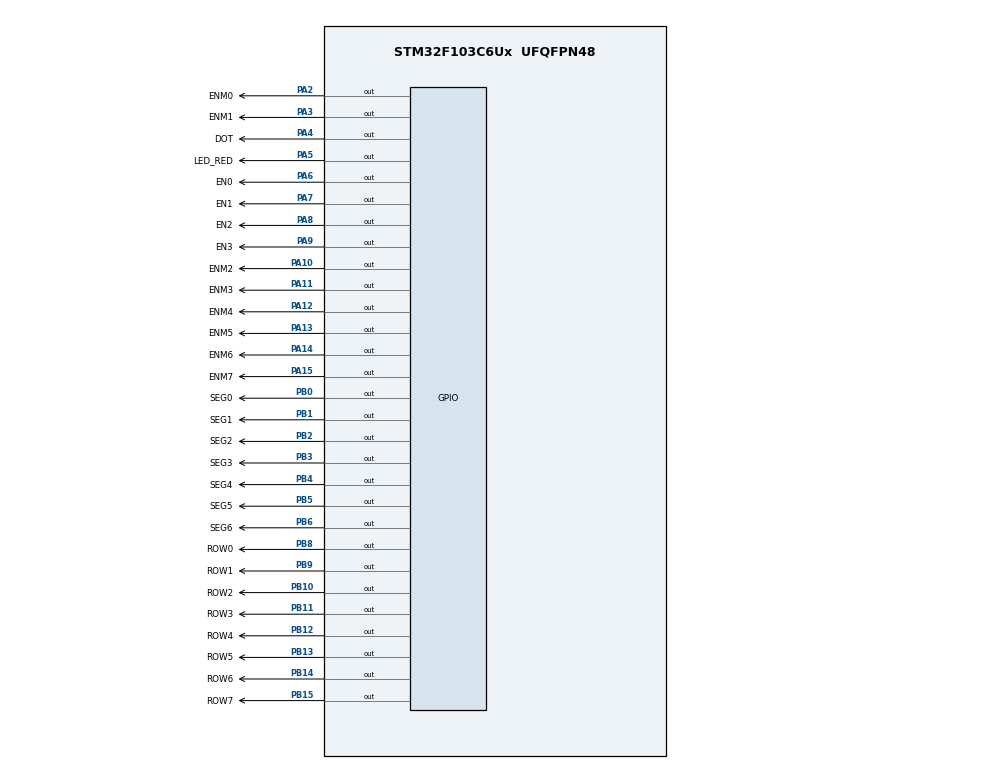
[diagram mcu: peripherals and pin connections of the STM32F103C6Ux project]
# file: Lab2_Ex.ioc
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Mcu.Family=STM32F1
Mcu.Name=STM32F103C6Ux
Mcu.Package=UFQFPN48
NVIC.PriorityGroup=NVIC_PRIORITYGROUP_4
NVIC.TIM2_IRQn=true\:0\:0\:false\:false\:true\:true\:true
PA10.GPIO_Label=ENM2
PA10.Signal=GPIO_Output
PA11.GPIO_Label=ENM3
PA11.Signal=GPIO_Output
PA12.GPIO_Label=ENM4
PA12.Signal=GPIO_Output
PA13.GPIO_Label=ENM5
PA13.Signal=GPIO_Output
PA14.GPIO_Label=ENM6
PA14.Signal=GPIO_Output
PA15.GPIO_Label=ENM7
PA15.Signal=GPIO_Output
PA2.GPIO_Label=ENM0
PA2.Signal=GPIO_Output
PA3.GPIO_Label=ENM1
PA3.Signal=GPIO_Output
PA4.GPIO_Label=DOT
PA4.Signal=GPIO_Output
PA5.GPIO_Label=LED_RED
PA5.Signal=GPIO_Output
PA6.GPIO_Label=EN0
PA6.Signal=GPIO_Output
PA7.GPIO_Label=EN1
PA7.Signal=GPIO_Output
PA8.GPIO_Label=EN2
PA8.Signal=GPIO_Output
PA9.GPIO_Label=EN3
PA9.Signal=GPIO_Output
PB0.GPIO_Label=SEG0
PB0.Signal=GPIO_Output
PB1.GPIO_Label=SEG1
PB1.Signal=GPIO_Output
PB10.GPIO_Label=ROW2
PB10.Signal=GPIO_Output
PB11.GPIO_Label=ROW3
PB11.Signal=GPIO_Output
PB12.GPIO_Label=ROW4
PB12.Signal=GPIO_Output
PB13.GPIO_Label=ROW5
PB13.Signal=GPIO_Output
PB14.GPIO_Label=ROW6
PB14.Signal=GPIO_Output
PB15.GPIO_Label=ROW7
PB15.Signal=GPIO_Output
PB2.GPIO_Label=SEG2
PB2.Signal=GPIO_Output
PB3.GPIO_Label=SEG3
PB3.Signal=GPIO_Output
PB4.GPIO_Label=SEG4
PB4.Signal=GPIO_Output
PB5.GPIO_Label=SEG5
PB5.Signal=GPIO_Output
PB6.GPIO_Label=SEG6
PB6.Signal=GPIO_Output
PB8.GPIO_Label=ROW0
PB8.Signal=GPIO_Output
PB9.GPIO_Label=ROW1
PB9.Signal=GPIO_Output
ProjectManager.HeapSize=0x200
ProjectManager.StackSize=0x400
ProjectManager.TargetToolchain=STM32CubeIDE
RCC.APB1Freq_Value=8000000
RCC.APB2Freq_Value=8000000
TIM2.Period=9
TIM2.Prescaler=7999
VP_SYS_VS_ND.Mode=No_Debug
VP_TIM2_VS_ClockSourceINT.Mode=Internal
board=custom

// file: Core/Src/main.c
/* USER CODE BEGIN Header */
/**
  ******************************************************************************
  * @file           : main.c
  * @brief          : Main program body
  ******************************************************************************
  * @attention
  *
  * <h2><center>&copy; Copyright (c) 2023 STMicroelectronics.
  * All rights reserved.</center></h2>
  *
  * This software component is licensed by ST under BSD 3-Clause license,
  * the "License"; You may not use this file except in compliance with the
  * License. You may obtain a copy of the License at:
  *                        opensource.org/licenses/BSD-3-Clause
  *
  ******************************************************************************
  */
/* USER CODE END Header */
#include "main.h"

/* USER CODE BEGIN Includes */
#include "software_timer.h"
/* USER CODE END Includes */

TIM_HandleTypeDef htim2;

void SystemClock_Config(void);
static void MX_GPIO_Init(void);
static void MX_TIM2_Init(void);

/* USER CODE BEGIN 0 */
int timer0_counter = 0;
int timer0_flag = 0;
int TIME_CYCLE = 10;
void setTimer0(int duration)
{
	timer0_counter = duration / TIME_CYCLE;
	timer0_flag = 0;
}
void timer_run()
{
	if (timer0_counter > 0)
	{
		timer0_counter--;
		if (timer0_counter <= 0)
		{
			timer0_flag = 1;
		}
	}
}
/* USER CODE END 0 */

int main(void)
{

  /* MCU Configuration--------------------------------------------------------*/

  /* Reset of all peripherals, Initializes the Flash interface and the Systick. */
  HAL_Init();

  /* Configure the system clock */
  SystemClock_Config();

  /* Initialize all configured peripherals */
  MX_GPIO_Init();
  MX_TIM2_Init();
  /* USER CODE BEGIN 2 */
  HAL_TIM_Base_Start_IT(&htim2);

  HAL_GPIO_WritePin(SEG0_GPIO_Port, SEG0_Pin, SET);
  HAL_GPIO_WritePin(SEG1_GPIO_Port, SEG1_Pin, SET);
  HAL_GPIO_WritePin(SEG2_GPIO_Port, SEG2_Pin, SET);
  HAL_GPIO_WritePin(SEG3_GPIO_Port, SEG3_Pin, SET);
  HAL_GPIO_WritePin(SEG4_GPIO_Port, SEG4_Pin, SET);
  HAL_GPIO_WritePin(SEG5_GPIO_Port, SEG5_Pin, SET);
  HAL_GPIO_WritePin(SEG6_GPIO_Port, SEG6_Pin, SET);

  void display7SEG(int num)
  {
	  switch (num)
	  {
	  case 0:
		  HAL_GPIO_WritePin(SEG0_GPIO_Port, SEG0_Pin, RESET);
		  HAL_GPIO_WritePin(SEG1_GPIO_Port, SEG1_Pin, RESET);
		  HAL_GPIO_WritePin(SEG2_GPIO_Port, SEG2_Pin, RESET);
		  HAL_GPIO_WritePin(SEG3_GPIO_Port, SEG3_Pin, RESET);
		  HAL_GPIO_WritePin(SEG4_GPIO_Port, SEG4_Pin, RESET);
		  HAL_GPIO_WritePin(SEG5_GPIO_Port, SEG5_Pin, RESET);
		  HAL_GPIO_WritePin(SEG6_GPIO_Port, SEG6_Pin, SET);
		  break;
	  case 1:
		  HAL_GPIO_WritePin(SEG0_GPIO_Port, SEG0_Pin, SET);
		  HAL_GPIO_WritePin(SEG1_GPIO_Port, SEG1_Pin, RESET);
		  HAL_GPIO_WritePin(SEG2_GPIO_Port, SEG2_Pin, RESET);
		  HAL_GPIO_WritePin(SEG3_GPIO_Port, SEG3_Pin, SET);
		  HAL_GPIO_WritePin(SEG4_GPIO_Port, SEG4_Pin, SET);
		  HAL_GPIO_WritePin(SEG5_GPIO_Port, SEG5_Pin, SET);
		  HAL_GPIO_WritePin(SEG6_GPIO_Port, SEG6_Pin, SET);
		  break;
	  case 2:
		  HAL_GPIO_WritePin(SEG0_GPIO_Port, SEG0_Pin, RESET);
		  HAL_GPIO_WritePin(SEG1_GPIO_Port, SEG1_Pin, RESET);
		  HAL_GPIO_WritePin(SEG2_GPIO_Port, SEG2_Pin, SET);
		  HAL_GPIO_WritePin(SEG3_GPIO_Port, SEG3_Pin, RESET);
		  HAL_GPIO_WritePin(SEG4_GPIO_Port, SEG4_Pin, RESET);
		  HAL_GPIO_WritePin(SEG5_GPIO_Port, SEG5_Pin, SET);
		  HAL_GPIO_WritePin(SEG6_GPIO_Port, SEG6_Pin, RESET);
		  break;
	  case 3:
		  HAL_GPIO_WritePin(SEG0_GPIO_Port, SEG0_Pin, RESET);
		  HAL_GPIO_WritePin(SEG1_GPIO_Port, SEG1_Pin, RESET);
		  HAL_GPIO_WritePin(SEG2_GPIO_Port, SEG2_Pin, RESET);
		  HAL_GPIO_WritePin(SEG3_GPIO_Port, SEG3_Pin, RESET);
		  HAL_GPIO_WritePin(SEG4_GPIO_Port, SEG4_Pin, SET);
		  HAL_GPIO_WritePin(SEG5_GPIO_Port, SEG5_Pin, SET);
		  HAL_GPIO_WritePin(SEG6_GPIO_Port, SEG6_Pin, RESET);
		  break;
	  case 4:
		  HAL_GPIO_WritePin(SEG0_GPIO_Port, SEG0_Pin, SET);
		  HAL_GPIO_WritePin(SEG1_GPIO_Port, SEG1_Pin, RESET);
		  HAL_GPIO_WritePin(SEG2_GPIO_Port, SEG2_Pin, RESET);
		  HAL_GPIO_WritePin(SEG3_GPIO_Port, SEG3_Pin, SET);
		  HAL_GPIO_WritePin(SEG4_GPIO_Port, SEG4_Pin, SET);
		  HAL_GPIO_WritePin(SEG5_GPIO_Port, SEG5_Pin, RESET);
		  HAL_GPIO_WritePin(SEG6_GPIO_Port, SEG6_Pin, RESET);
		  break;
	  case 5:
		  HAL_GPIO_WritePin(SEG0_GPIO_Port, SEG0_Pin, RESET);
		  HAL_GPIO_WritePin(SEG1_GPIO_Port, SEG1_Pin, SET);
		  HAL_GPIO_WritePin(SEG2_GPIO_Port, SEG2_Pin, RESET);
		  HAL_GPIO_WritePin(SEG3_GPIO_Port, SEG3_Pin, RESET);
		  HAL_GPIO_WritePin(SEG4_GPIO_Port, SEG4_Pin, SET);
		  HAL_GPIO_WritePin(SEG5_GPIO_Port, SEG5_Pin, RESET);
		  HAL_GPIO_WritePin(SEG6_GPIO_Port, SEG6_Pin, RESET);
		  break;
	  case 6:
		  HAL_GPIO_WritePin(SEG0_GPIO_Port, SEG0_Pin, RESET);
		  HAL_GPIO_WritePin(SEG1_GPIO_Port, SEG1_Pin, SET);
		  HAL_GPIO_WritePin(SEG2_GPIO_Port, SEG2_Pin, RESET);
		  HAL_GPIO_WritePin(SEG3_GPIO_Port, SEG3_Pin, RESET);
		  HAL_GPIO_WritePin(SEG4_GPIO_Port, SEG4_Pin, RESET);
		  HAL_GPIO_WritePin(SEG5_GPIO_Port, SEG5_Pin, RESET);
		  HAL_GPIO_WritePin(SEG6_GPIO_Port, SEG6_Pin, RESET);
		  break;
	  case 7:
		  HAL_GPIO_WritePin(SEG0_GPIO_Port, SEG0_Pin, RESET);
		  HAL_GPIO_WritePin(SEG1_GPIO_Port, SEG1_Pin, RESET);
		  HAL_GPIO_WritePin(SEG2_GPIO_Port, SEG2_Pin, RESET);
		  HAL_GPIO_WritePin(SEG3_GPIO_Port, SEG3_Pin, SET);
		  HAL_GPIO_WritePin(SEG4_GPIO_Port, SEG4_Pin, SET);
		  HAL_GPIO_WritePin(SEG5_GPIO_Port, SEG5_Pin, SET);
		  HAL_GPIO_WritePin(SEG6_GPIO_Port, SEG6_Pin, SET);
		  break;
	  case 8:
		  HAL_GPIO_WritePin(SEG0_GPIO_Port, SEG0_Pin, RESET);
		  HAL_GPIO_WritePin(SEG1_GPIO_Port, SEG1_Pin, RESET);
		  HAL_GPIO_WritePin(SEG2_GPIO_Port, SEG2_Pin, RESET);
		  HAL_GPIO_WritePin(SEG3_GPIO_Port, SEG3_Pin, RESET);
		  HAL_GPIO_WritePin(SEG4_GPIO_Port, SEG4_Pin, RESET);
		  HAL_GPIO_WritePin(SEG5_GPIO_Port, SEG5_Pin, RESET);
		  HAL_GPIO_WritePin(SEG6_GPIO_Port, SEG6_Pin, RESET);
		  break;
	  case 9:
		  HAL_GPIO_WritePin(SEG0_GPIO_Port, SEG0_Pin, RESET);
		  HAL_GPIO_WritePin(SEG1_GPIO_Port, SEG1_Pin, RESET);
		  HAL_GPIO_WritePin(SEG2_GPIO_Port, SEG2_Pin, RESET);
		  HAL_GPIO_WritePin(SEG3_GPIO_Port, SEG3_Pin, RESET);
		  HAL_GPIO_WritePin(SEG4_GPIO_Port, SEG4_Pin, SET);
		  HAL_GPIO_WritePin(SEG5_GPIO_Port, SEG5_Pin, RESET);
		  HAL_GPIO_WritePin(SEG6_GPIO_Port, SEG6_Pin, RESET);
		  break;
	  default:
		  HAL_GPIO_WritePin(SEG0_GPIO_Port, SEG0_Pin, RESET);
		  HAL_GPIO_WritePin(SEG1_GPIO_Port, SEG1_Pin, RESET);
		  HAL_GPIO_WritePin(SEG2_GPIO_Port, SEG2_Pin, RESET);
		  HAL_GPIO_WritePin(SEG3_GPIO_Port, SEG3_Pin, RESET);
		  HAL_GPIO_WritePin(SEG4_GPIO_Port, SEG4_Pin, RESET);
		  HAL_GPIO_WritePin(SEG5_GPIO_Port, SEG5_Pin, RESET);
		  HAL_GPIO_WritePin(SEG6_GPIO_Port, SEG6_Pin, SET);
		  break;
	  }
  }
  void state(int num)
  {
	  switch (num)
	  {
	  case 0:
		  HAL_GPIO_WritePin(EN0_GPIO_Port, EN0_Pin, RESET);
		  HAL_GPIO_WritePin(EN1_GPIO_Port, EN1_Pin, SET);
		  HAL_GPIO_WritePin(EN2_GPIO_Port, EN2_Pin, SET);
		  HAL_GPIO_WritePin(EN3_GPIO_Port, EN3_Pin, SET);
		  break;
	  case 1:
		  HAL_GPIO_WritePin(EN0_GPIO_Port, EN0_Pin, SET);
		  HAL_GPIO_WritePin(EN1_GPIO_Port, EN1_Pin, RESET);
		  HAL_GPIO_WritePin(EN2_GPIO_Port, EN2_Pin, SET);
		  HAL_GPIO_WritePin(EN3_GPIO_Port, EN3_Pin, SET);
		  break;
	  case 2:
		  HAL_GPIO_WritePin(EN0_GPIO_Port, EN0_Pin, SET);
		  HAL_GPIO_WritePin(EN1_GPIO_Port, EN1_Pin, SET);
		  HAL_GPIO_WritePin(EN2_GPIO_Port, EN2_Pin, RESET);
		  HAL_GPIO_WritePin(EN3_GPIO_Port, EN3_Pin, SET);
		  break;
	  case 3:
		  HAL_GPIO_WritePin(EN0_GPIO_Port, EN0_Pin, SET);
		  HAL_GPIO_WritePin(EN1_GPIO_Port, EN1_Pin, SET);
		  HAL_GPIO_WritePin(EN2_GPIO_Port, EN2_Pin, SET);
		  HAL_GPIO_WritePin(EN3_GPIO_Port, EN3_Pin, RESET);
		  break;
	  default:
		  HAL_GPIO_WritePin(EN0_GPIO_Port, EN0_Pin, RESET);
		  HAL_GPIO_WritePin(EN1_GPIO_Port, EN1_Pin, SET);
		  HAL_GPIO_WritePin(EN2_GPIO_Port, EN2_Pin, SET);
		  HAL_GPIO_WritePin(EN3_GPIO_Port, EN3_Pin, SET);
		  break;
	  }
  }
  const int MAX_LED = 4;
  int index_led = 0;
  int led_buffer[4] = {6, 7, 8, 9};
  void update7SEG(int index)
  {
	  state(index);
	  display7SEG(led_buffer[index]);
  }
  /* USER CODE END 2 */

  /* Infinite loop */
  /* USER CODE BEGIN WHILE */
  const int MAX_LED_MATRIX = 8;
  int index_led_matrix = 0;
  uint16_t COL [8] = {ENM0_Pin, ENM1_Pin, ENM2_Pin, ENM3_Pin, ENM4_Pin, ENM5_Pin, ENM6_Pin, ENM7_Pin};
  uint16_t ROW [8] = {ROW0_Pin, ROW1_Pin, ROW2_Pin, ROW3_Pin, ROW4_Pin, ROW5_Pin, ROW6_Pin, ROW7_Pin};
  uint8_t matrix_buffer[8] = {0x00,0xFC,0x12,0x11,0x11,0x12,0xFC,0x00};

  void displayLEDMatrix (uint8_t index)
  {
	  for (int i = 0; i < MAX_LED_MATRIX; i++)
	  {
		  uint8_t bit = index >> i;
		  if (bit & 1) HAL_GPIO_WritePin(GPIOB, ROW[i], RESET);
  	  }
   }

  void shift (int mode)
  {
	uint8_t firstBit = matrix_buffer[0];
	uint8_t lastBit = matrix_buffer[MAX_LED_MATRIX];
	if (mode == 0)
	{
		for (int i = 0; i < MAX_LED_MATRIX; i++)
		{
			matrix_buffer[i] = matrix_buffer[i + 1];
		}
		matrix_buffer[MAX_LED_MATRIX - 1] = firstBit;
	}
  }

  void clearLEDMatrix()
  {
	for (int i = 0; i < MAX_LED_MATRIX; i++)
	{
	  HAL_GPIO_WritePin(GPIOA, COL[i], SET);
	  HAL_GPIO_WritePin(GPIOB, ROW[i], SET);
	}
  }

  void updateLEDMatrix (int index)
  {
	clearLEDMatrix();
	index %= MAX_LED_MATRIX;
	HAL_GPIO_WritePin(GPIOA, COL[index], RESET);
	displayLEDMatrix(matrix_buffer[index]);
  }

  int hour = 15, minute = 8, second = 50;
  void updateClockBuffer()
  {
	  led_buffer[0] = hour / 10;
	  led_buffer[1] = hour % 10;
	  led_buffer[2] = minute / 10;
	  led_buffer[3] = minute % 10;
  }

  uint8_t SLeft(uint8_t a)
  {
	  return ((a >> 1) | (a & 1) << 7);
  }
  void SLeftBuffer()
  {
	for (int i = 0; i < 8; i++)
	{
	  matrix_buffer[i] = SLeft(matrix_buffer[i]);
	}
  }

  setTimer1(100); // LED_RED and DOT
  setTimer2(25); // 7 Segment LEDs
  setTimer3(100); // 1s = 1000ms
  setTimer4(10);
  updateClockBuffer();
  update7SEG(0);

  int i = 0;
  updateLEDMatrix(i);
  while (1)
  {
	  if (timer1_flag == 1)
	  {
		  setTimer1(100);
		  HAL_GPIO_TogglePin(LED_RED_GPIO_Port, LED_RED_Pin);
		  HAL_GPIO_TogglePin(DOT_GPIO_Port, DOT_Pin);
	  }
	  if (timer2_flag == 1)
	  {
		  setTimer2(25);
		  if (index_led > 3)
		  {
			  index_led = 0;
		  }
		  update7SEG(index_led++);
	  }
	  if (timer3_flag == 1)
	  {
		  setTimer3(100);
		  second++;
		  if (second >= 60)
		  {
			  second = 0;
			  minute++;
		  }
		  if (minute >= 60)
		  {
			  minute = 0;
			  hour++;
		  }
		  if (hour >= 24)
		  {
			  hour = 0;
		  }
		  updateClockBuffer();
	  }
	  if (timer4_flag == 1)
	  {
		  setTimer4(10);
		  updateLEDMatrix(i++);
		  if (i > 7) i = 0;
	  }
    /* USER CODE END WHILE */

  }
}

void SystemClock_Config(void)
{
  RCC_OscInitTypeDef RCC_OscInitStruct = {0};
  RCC_ClkInitTypeDef RCC_ClkInitStruct = {0};

  /** Initializes the RCC Oscillators according to the specified parameters
  * in the RCC_OscInitTypeDef structure.
  */
  RCC_OscInitStruct.OscillatorType = RCC_OSCILLATORTYPE_HSI;
  RCC_OscInitStruct.HSIState = RCC_HSI_ON;
  RCC_OscInitStruct.HSICalibrationValue = RCC_HSICALIBRATION_DEFAULT;
  RCC_OscInitStruct.PLL.PLLState = RCC_PLL_NONE;
  if (HAL_RCC_OscConfig(&RCC_OscInitStruct) != HAL_OK)
  {
    Error_Handler();
  }
  /** Initializes the CPU, AHB and APB buses clocks
  */
  RCC_ClkInitStruct.ClockType = RCC_CLOCKTYPE_HCLK|RCC_CLOCKTYPE_SYSCLK
                              |RCC_CLOCKTYPE_PCLK1|RCC_CLOCKTYPE_PCLK2;
  RCC_ClkInitStruct.SYSCLKSource = RCC_SYSCLKSOURCE_HSI;
  RCC_ClkInitStruct.AHBCLKDivider = RCC_SYSCLK_DIV1;
  RCC_ClkInitStruct.APB1CLKDivider = RCC_HCLK_DIV1;
  RCC_ClkInitStruct.APB2CLKDivider = RCC_HCLK_DIV1;

  if (HAL_RCC_ClockConfig(&RCC_ClkInitStruct, FLASH_LATENCY_0) != HAL_OK)
  {
    Error_Handler();
  }
}

static void MX_TIM2_Init(void)
{

  TIM_ClockConfigTypeDef sClockSourceConfig = {0};
  TIM_MasterConfigTypeDef sMasterConfig = {0};

  htim2.Instance = TIM2;
  htim2.Init.Prescaler = 7999;
  htim2.Init.CounterMode = TIM_COUNTERMODE_UP;
  htim2.Init.Period = 9;
  htim2.Init.ClockDivision = TIM_CLOCKDIVISION_DIV1;
  htim2.Init.AutoReloadPreload = TIM_AUTORELOAD_PRELOAD_DISABLE;
  if (HAL_TIM_Base_Init(&htim2) != HAL_OK)
  {
    Error_Handler();
  }
  sClockSourceConfig.ClockSource = TIM_CLOCKSOURCE_INTERNAL;
  if (HAL_TIM_ConfigClockSource(&htim2, &sClockSourceConfig) != HAL_OK)
  {
    Error_Handler();
  }
  sMasterConfig.MasterOutputTrigger = TIM_TRGO_RESET;
  sMasterConfig.MasterSlaveMode = TIM_MASTERSLAVEMODE_DISABLE;
  if (HAL_TIMEx_MasterConfigSynchronization(&htim2, &sMasterConfig) != HAL_OK)
  {
    Error_Handler();
  }

}

static void MX_GPIO_Init(void)
{
  GPIO_InitTypeDef GPIO_InitStruct = {0};

  /* GPIO Ports Clock Enable */
  __HAL_RCC_GPIOA_CLK_ENABLE();
  __HAL_RCC_GPIOB_CLK_ENABLE();

  /*Configure GPIO pin Output Level */
  HAL_GPIO_WritePin(GPIOA, ENM0_Pin|ENM1_Pin|DOT_Pin|LED_RED_Pin
                          |EN0_Pin|EN1_Pin|EN2_Pin|EN3_Pin
                          |ENM2_Pin|ENM3_Pin|ENM4_Pin|ENM5_Pin
                          |ENM6_Pin|ENM7_Pin, GPIO_PIN_RESET);

  /*Configure GPIO pin Output Level */
  HAL_GPIO_WritePin(GPIOB, SEG0_Pin|SEG1_Pin|SEG2_Pin|ROW2_Pin
                          |ROW3_Pin|ROW4_Pin|ROW5_Pin|ROW6_Pin
                          |ROW7_Pin|SEG3_Pin|SEG4_Pin|SEG5_Pin
                          |SEG6_Pin|ROW0_Pin|ROW1_Pin, GPIO_PIN_RESET);

  /*Configure GPIO pins : ENM0_Pin ENM1_Pin DOT_Pin LED_RED_Pin
                           EN0_Pin EN1_Pin EN2_Pin EN3_Pin
                           ENM2_Pin ENM3_Pin ENM4_Pin ENM5_Pin
                           ENM6_Pin ENM7_Pin */
  GPIO_InitStruct.Pin = ENM0_Pin|ENM1_Pin|DOT_Pin|LED_RED_Pin
                          |EN0_Pin|EN1_Pin|EN2_Pin|EN3_Pin
                          |ENM2_Pin|ENM3_Pin|ENM4_Pin|ENM5_Pin
                          |ENM6_Pin|ENM7_Pin;
  GPIO_InitStruct.Mode = GPIO_MODE_OUTPUT_PP;
  GPIO_InitStruct.Pull = GPIO_NOPULL;
  GPIO_InitStruct.Speed = GPIO_SPEED_FREQ_LOW;
  HAL_GPIO_Init(GPIOA, &GPIO_InitStruct);

  /*Configure GPIO pins : SEG0_Pin SEG1_Pin SEG2_Pin ROW2_Pin
                           ROW3_Pin ROW4_Pin ROW5_Pin ROW6_Pin
                           ROW7_Pin SEG3_Pin SEG4_Pin SEG5_Pin
                           SEG6_Pin ROW0_Pin ROW1_Pin */
  GPIO_InitStruct.Pin = SEG0_Pin|SEG1_Pin|SEG2_Pin|ROW2_Pin
                          |ROW3_Pin|ROW4_Pin|ROW5_Pin|ROW6_Pin
                          |ROW7_Pin|SEG3_Pin|SEG4_Pin|SEG5_Pin
                          |SEG6_Pin|ROW0_Pin|ROW1_Pin;
  GPIO_InitStruct.Mode = GPIO_MODE_OUTPUT_PP;
  GPIO_InitStruct.Pull = GPIO_NOPULL;
  GPIO_InitStruct.Speed = GPIO_SPEED_FREQ_LOW;
  HAL_GPIO_Init(GPIOB, &GPIO_InitStruct);

}

/* USER CODE BEGIN 4 */
void HAL_TIM_PeriodElapsedCallback(TIM_HandleTypeDef *htim)
{
	timerRun();
}
/* USER CODE END 4 */

void Error_Handler(void)
{
  __disable_irq();
  while (1)
  {
  }
}

/************************ (C) COPYRIGHT STMicroelectronics *****END OF FILE****/
